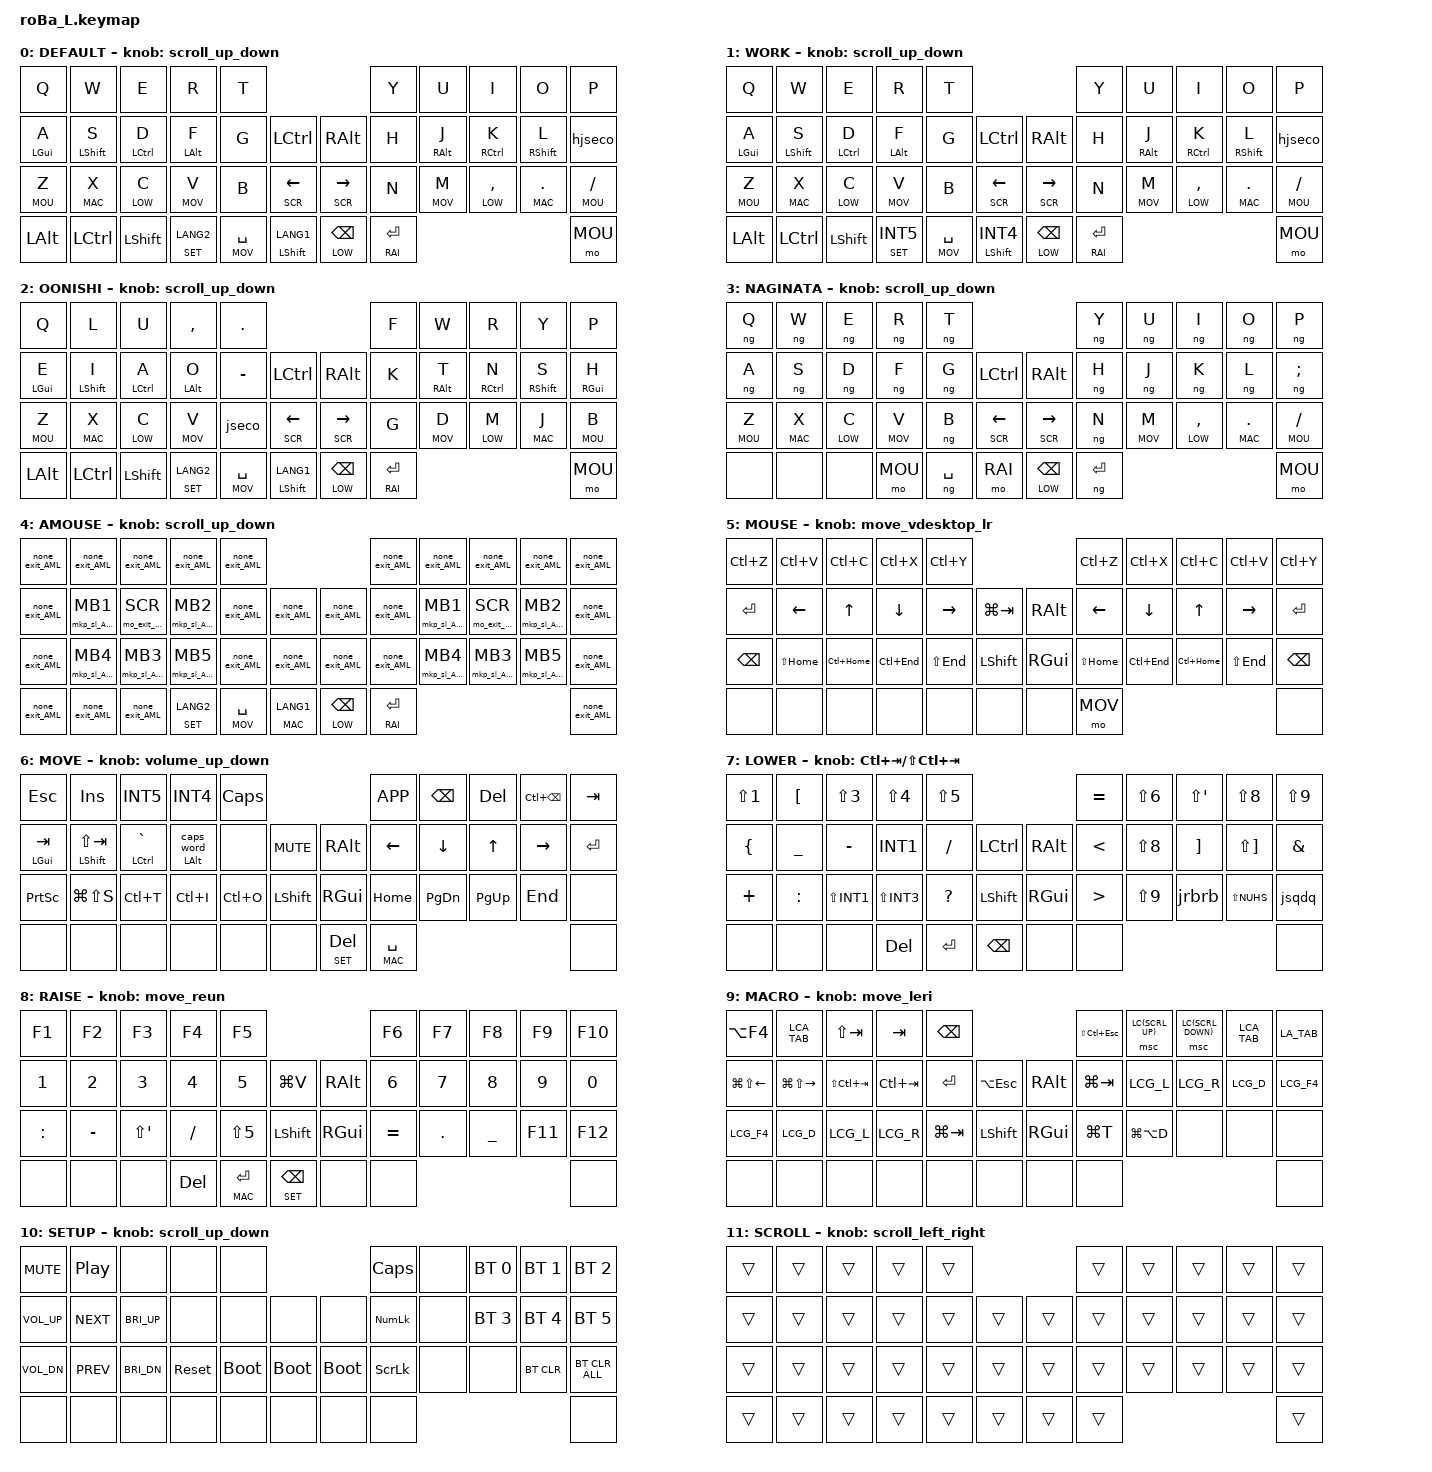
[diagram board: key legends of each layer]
#define ZMK_POINTING_DEFAULT_SCRL_VAL 100

#include <behaviors.dtsi>
#include <dt-bindings/zmk/bt.h>
#include <dt-bindings/zmk/keys.h>
#include <dt-bindings/zmk/pointing.h>
#include <behaviors/naginata.dtsi>

// 薙刀式のOS設定  (WIN 0, MAC 1, LINUX 2, IOS 3)
#define HOST_OS 0

// レイヤー定義
#define QWE 0
#define WOR 1
#define ONI 2
#define NAG 3
#define AMO 4
#define MOU 5
#define MOV 6
#define LOW 7
#define RAI 8
#define MAC 9
#define SET 10
#define SCR 11

// keycodeを置き換えるとkeymap editorが利用できないため、基本的に実施しない。
//#define XXX &none
//#define ___ &none
// Misc aliases. [TODO: clean up]
//#define LG_S       &kp LG(S)             // スクリーンショット
//#define LA_F4      &kp LA(F4)            // アプリケーション終了
//#define LG_TAB     &kp LG(TAB)           // タスクビュー
//#define LCS_ESC    &kp LS(LC(ESC))       // タスクマネージャー
//#define LG_T       &kp LG(T)             // タスクバー選択
//#define LCS_TAB    &kp LS(LC(TAB))       // タブ移動(左)
//#define LC_TAB     &kp LC(TAB)           // タブ移動(右)
//#define LC_W       &kp LC(W)             // タブ削除
//#define LC_PLU     &kp LC(KP_PLUS)       // ズーム+
//#define LC_MIN     &kp LC(KP_MINUS)      // ズーム-
//#define LS_TAB     &kp LS(TAB)           // 入力移動（左）
//#define LS_HOME    &kp LS(HOME)          // カーソルから末尾まで選択
//#define LC_HOME    &kp LC(HOME)          // 先頭を表示
//#define LC_END     &kp LC(END)           // 最後尾を表示
//#define LS_END     &kp LS(END)           // カーソルから行頭まで選択
//#define LC_BS      &kp LC(BSPC)          // 単語削除
//#define LC_Z       &kp LC(Z)             // undo
//#define LC_V       &kp LC(V)             // paste
//#define LC_X       &kp LC(X)             // cut
//#define LC_C       &kp LC(C)             // copy
//#define LC_Y       &kp LC(Y)             // redo
//#define LC_T       &kp LC(T)             // 半角英数字
//#define LC_I       &kp LC(I)             // 全角カタカナ
//#define LC_O       &kp LC(O)             // 半角カタカナ

// layerの設定
&lt {
    flavor = "tap-preferred";
    tapping-term-ms = <150>;
    quick-tap-ms = <150>;
};
&sl { release-after-ms = <120>; }; // タイムアウトを指定
/ {

    combos {
        compatible = "zmk,combos";

        // 薙刀式
        combo_ng_on {
            timeout-ms = <30>;
            key-positions = <17 18>;
            bindings = <&ng_on>;
            layers = <QWE>;
        };
        combo_ng_off {
            timeout-ms = <30>;
            key-positions = <13 14>;
            bindings = <&ng_off>;
            layers = <QWE NAG>;
        };
        // work
        combo_work_on {
            timeout-ms = <30>;
            key-positions = <29 30>;
            bindings = <&to 1>;
            layers = <QWE>;
        };
        // oonishi
        combo_oonishi_on {
            timeout-ms = <30>;
            key-positions = <30 31>;
            bindings = <&to 2>;
            layers = <QWE>;
        };
        // デフォルトに移動
        combo_qwerty_on {
            timeout-ms = <30>;
            key-positions = <24 25>;
            bindings = <&to 0>;
            layers = <QWE WOR ONI>;
        };

        // ショートカット
        combo_prn {
            timeout-ms = <40>;
            key-positions = <18 19>;
            bindings = <&JPRN2>;
            layers = <LOW>;
        };
        combo_brc {
            timeout-ms = <40>;
            key-positions = <19 20>;
            bindings = <&JBRC2>;
            layers = <LOW>;
        };
        combo_cbr {
            timeout-ms = <40>;
            key-positions = <20 21>;
            bindings = <&JCBR2>;
            layers = <LOW>;
        };
        combo_law {
            timeout-ms = <40>;
            key-positions = <30 31>;
            bindings = <&LAW>;
            layers = <LOW>;
        };
        combo_raw {
            timeout-ms = <40>;
            key-positions = <31 32>;
            bindings = <&RAW>;
            layers = <LOW>;
        };
        combo_RAI {
            timeout-ms = <40>;
            key-positions = <32 33>;
            bindings = <&mo RAI>;
            layers = <QWE WOR ONI NAG>;
        };
        combo_RAI2 {
            timeout-ms = <40>;
            key-positions = <22 23>;
            bindings = <&mo RAI>;
            layers = <QWE WOR ONI NAG>;
        };
        combo_SET {
            timeout-ms = <40>;
            key-positions = <31 32>;
            bindings = <&mo SET>;
            layers = <QWE WOR ONI NAG>;
        };
        combo_SET2 {
            timeout-ms = <40>;
            key-positions = <23 24>;
            bindings = <&mo SET>;
            layers = <QWE WOR ONI NAG>;
        };

    };

    macros {
        // アクティブアプリ(切り替え)
        LA_TAB: alt_tab {
            compatible = "zmk,behavior-macro";
            #binding-cells = <0>;
            bindings = <&macro_press &kp LALT>,
                       <&macro_tap &kp TAB>,
                       <&macro_release &kp LALT>;
        };
        // アクティブアプリ(一覧)
        LCA_TAB: alt_ctrl_tab {
            compatible = "zmk,behavior-macro";
            #binding-cells = <0>;
            bindings = <&macro_press &kp LALT>,
                       <&macro_press &kp LCTRL>,
                       <&macro_wait_time 100>,
                       <&macro_tap &kp TAB>,
                       <&macro_release &kp LCTRL>,
                       <&macro_release &kp LALT>;
        };
        // 仮想デスクトップ 新規
        LCG_D: gui_ctrl_d {
            compatible = "zmk,behavior-macro";
            #binding-cells = <0>;
            bindings = <&macro_press &kp LGUI>,
                       <&macro_press &kp LCTRL>,
                       <&macro_tap &kp D>,
                       <&macro_release &kp LCTRL>,
                       <&macro_release &kp LGUI>;
        };
        // 仮想デスクトップ 削除
        LCG_F4: gui_ctrl_F4 {
            compatible = "zmk,behavior-macro";
            #binding-cells = <0>;
            bindings = <&macro_press &kp LGUI>,
                       <&macro_press &kp LCTRL>,
                       <&macro_tap &kp F4>,
                       <&macro_release &kp LCTRL>,
                       <&macro_release &kp LGUI>;
        };
        // 仮想デスクトップ 右移動
        LCG_R: gui_ctrl_right {
            compatible = "zmk,behavior-macro";
            #binding-cells = <0>;
            bindings = <&macro_press &kp LGUI>,
                       <&macro_press &kp LCTRL>,
                       <&macro_tap &kp RIGHT>,
                       <&macro_release &kp LCTRL>,
                       <&macro_release &kp LGUI>;
        };
        // 仮想デスクトップ 左移動
        LCG_L: gui_ctrl_left {
            compatible = "zmk,behavior-macro";
            #binding-cells = <0>;
            bindings = <&macro_press &kp LGUI>,
                       <&macro_press &kp LCTRL>,
                       <&macro_tap &kp LEFT>,
                       <&macro_release &kp LCTRL>,
                       <&macro_release &kp LGUI>;
        };
        // 括弧() JIS
        JPRN2: jis_lprn_rprn {
            compatible = "zmk,behavior-macro";
            #binding-cells = <0>;
            bindings = <&macro_tap &kp LS(N8)>,
                       <&macro_tap &kp LS(N9)>,
                       <&macro_tap &kp LEFT>;
        };
        // 括弧[] JIS
        JBRC2: jis_lbrc_rbrc {
            compatible = "zmk,behavior-macro";
            #binding-cells = <0>;
            bindings = <&macro_tap &kp RBKT>,
                       <&macro_tap &kp NUHS>,
                       <&macro_tap &kp LEFT>;
        };
        // 括弧{} JIS
        JCBR2: jis_lcbr_rcbr {
            compatible = "zmk,behavior-macro";
            #binding-cells = <0>;
            bindings = <&macro_tap &kp LS(RBKT)>,
                       <&macro_tap &kp LS(NUHS)>,
                       <&macro_tap &kp LEFT>;
        };
        // → JIS
        LAW: left_arrow {
            compatible = "zmk,behavior-macro";
            #binding-cells = <0>;
            bindings = <&macro_tap &kp LS(COMMA)>,
                       <&macro_tap &kp MINUS>;
        };
        // ← JIS
        RAW: right_arrow {
            compatible = "zmk,behavior-macro";
            #binding-cells = <0>;
            bindings = <&macro_tap &kp MINUS>,
                       <&macro_tap &kp LS(DOT)>;
        };
        // naginata
        ng_on: ng_on {
            compatible = "zmk,behavior-macro";
            #binding-cells = <0>;
            bindings
                = <&macro_tap &kp LANGUAGE_1 &kp INTERNATIONAL_4 &to NAG>
                ;
        };
        ng_off: ng_off {
            compatible = "zmk,behavior-macro";
            #binding-cells = <0>;
            bindings
                = <&macro_tap &kp LANGUAGE_2 &kp INTERNATIONAL_5 &to QWE>
                ;
        };
        // AMLを解除
        exit_AML: exit_AML {
            compatible = "zmk,behavior-macro";
            wait-ms = <0>;
            tap-ms = <0>;
            #binding-cells = <0>;
            bindings = <&tog_off AMO>;
            label = "exit_AML";
        };
        // マウスレイヤーで何もせず抜ける
        none_exit_AML: none_exit_AML {
            compatible = "zmk,behavior-macro";
            wait-ms = <0>;
            tap-ms = <0>;
            #binding-cells = <0>;
            bindings = <&none &exit_AML>;
            label = "None_exit_AML";
        };
        // マウスレイヤーでキー入力後後抜ける
        kp_exit_AML: kp_exit_AML {
            compatible = "zmk,behavior-macro-one-param";
            wait-ms = <0>;
            tap-ms = <0>;
            #binding-cells = <1>;
            bindings = <&macro_param_1to1 &kp MACRO_PLACEHOLDER &exit_AML>;
        };
        // マウス入力
        mkp_sl_AML: mkp_sl_AML {
            compatible = "zmk,behavior-macro-one-param";
            #binding-cells = <1>;
            bindings =
                <&macro_press>,
                <&macro_param_1to1 &mkp MACRO_PLACEHOLDER>,
                <&macro_pause_for_release>,
                <&macro_release>,
                <&macro_param_1to1 &mkp MACRO_PLACEHOLDER>,
                <&macro_tap>,
                <&sl AMO>;
            label = "MKP_SL_AML";
        };
        // スクロール
        mo_exit_AML: mo_exit_AML {
            compatible = "zmk,behavior-macro-one-param";
            wait-ms = <0>;
            tap-ms = <0>;
            #binding-cells = <1>;
            bindings =
                <&macro_press>,
                <&macro_param_1to1 &mo MACRO_PLACEHOLDER>,
                <&macro_tap>,
                <&exit_AML>,
                <&macro_pause_for_release>,
                <&macro_release>,
                <&macro_param_1to1 &mo MACRO_PLACEHOLDER>,
                <&macro_tap>;
            label = "MO_exit_AML";
        };
    };

    behaviors {
        tog_on: toggle_layer_on {
            compatible = "zmk,behavior-toggle-layer";
            #binding-cells = <1>;
            display-name = "Toggle Layer On";
            toggle-mode = "on";
        };
        tog_off: toggle_layer_off {
            compatible = "zmk,behavior-toggle-layer";
            #binding-cells = <1>;
            display-name = "Toggle Layer Off";
            toggle-mode = "off";
        };
        // HRMの設定
        hrm: homerow_mods {
            compatible = "zmk,behavior-hold-tap";
            #binding-cells = <2>;
            tapping-term-ms = <230>;
            quick-tap-ms = <150>;
            flavor = "tap-preferred";
            bindings = <&kp>, <&kp>;
        };
        // タップ&ホールド
        qhrm: qickly_homerow_mods {
            compatible = "zmk,behavior-hold-tap";
            #binding-cells = <2>;
            tapping-term-ms = <150>;
            quick-tap-ms = <150>;
            flavor = "tap-preferred";
            bindings = <&kp>, <&kp>;
        };
        // HRMでcaps切替える
        qhrmc: qickly_homerow_mods_caps {
            compatible = "zmk,behavior-hold-tap";
            #binding-cells = <2>;
            tapping-term-ms = <150>;
            quick-tap-ms = <150>;
            flavor = "tap-preferred";
            bindings = <&kp>, <&caps_word>;
        };
        // AMLでレイヤー切り替え
        mltkp: auto_mouse_lt_kp {
            compatible = "zmk,behavior-hold-tap";
            #binding-cells = <2>;
            tapping-term-ms = <230>;
            quick-tap-ms = <150>;
            flavor = "tap-preferred";
            bindings = <&mo_exit_AML>, <&kp_exit_AML>;
        };
        // mod-tap(mouse)の設定
        mlt: mouse_layer_tap {
            compatible = "zmk,behavior-hold-tap";
            #binding-cells = <2>;
            tapping-term-ms = <150>;
            quick-tap-ms = <150>;
            flavor = "tap-preferred";
            bindings = <&mo>, <&mkp>;
        };
        //mod-tap(薙刀式)の設定
        nlt: nagi_layer_tap {
            compatible = "zmk,behavior-hold-tap";
            #binding-cells = <2>;
            tapping-term-ms = <150>;
            quick-tap-ms = <150>;
            flavor = "tap-preferred";
            bindings = <&mo>, <&ng>;
        };
        // layerの設定(文字を入力する場合)
        klt: key_layer_tap {
            compatible = "zmk,behavior-hold-tap";
            #binding-cells = <2>;
            tapping-term-ms = <230>;
            quick-tap-ms = <150>;
            flavor = "tap-preferred";
            bindings = <&mo>, <&kp>;
        };

        // ロータリーエンコーダの設定
        // スクロール動作の追加
        scroll_up_down: sensor_rotate_mouse_wheel_up_down {
            compatible = "zmk,behavior-sensor-rotate";
            #sensor-binding-cells = <0>;
            bindings = <&msc SCRL_UP>, <&msc SCRL_DOWN>;
            // 追加: スクロールのタップ時間を設定 (20ms)
            tap-ms = <20>;
        };
        scroll_left_right: sensor_rotate_mouse_wheel_left_rightxo {
            compatible = "zmk,behavior-sensor-rotate";
            #sensor-binding-cells = <0>;
            bindings = <&msc SCRL_LEFT>, <&msc SCRL_RIGHT>;
            // 追加: スクロールのタップ時間を設定 (20ms)
            tap-ms = <20>;
        };
        // 仮想デスクトップ移動
        move_vdesktop_lr: sensor_rotate_move_vdesktop_left_right  {
            compatible = "zmk,behavior-sensor-rotate";
            #sensor-binding-cells = <0>;
            bindings = <&LCG_R>, <&LCG_L>;
            // 追加: スクロールのタップ時間を設定 (20ms)
            tap-ms = <1>;
        };
        // 音量増減
        volume_up_down: sensor_rotate_volume_up_down  {
            compatible = "zmk,behavior-sensor-rotate";
            #sensor-binding-cells = <0>;
            bindings = <&kp C_VOL_UP>, <&kp C_VOL_DN>;
            // 追加: スクロールのタップ時間を設定 (20ms)
            tap-ms = <1>;
        };
        // タブ移動
        move_tab_lr: sensor_rotate_move_tab_left_right  {
            compatible = "zmk,behavior-sensor-rotate";
            #sensor-binding-cells = <0>;
            bindings = <&kp LC(TAB)>, <&kp LS(LC(TAB))>;
            // 追加: スクロールのタップ時間を設定 (20ms)
            tap-ms = <1>;
        };
        // 進む/戻る
        move_reun: sensor_rotate_move_redo_undo  {
            compatible = "zmk,behavior-sensor-rotate";
            #sensor-binding-cells = <0>;
            bindings = <&kp LC(Y)>, <&kp LC(Z)>;
            // 追加: スクロールのタップ時間を設定 (20ms)
            tap-ms = <1>;
        };
        // 右/左
        move_leri: sensor_rotate_move_left_right  {
            compatible = "zmk,behavior-sensor-rotate";
            #sensor-binding-cells = <0>;
            bindings = <&kp RIGHT>, <&kp LEFT>;
            // 追加: スクロールのタップ時間を設定 (20ms)
            tap-ms = <1>;
        };
        // キー入力受付
         rot_kp: sensor_rotate_kp {
            compatible = "zmk,behavior-sensor-rotate-var";
            #sensor-binding-cells = <2>;
            bindings = <&kp>, <&kp>;
            tap-ms = <1>;
        };

        // HRMで記号の入力を指定
        hjseco: homerow_mods_jis_semi_colon {
            compatible = "zmk,behavior-mod-morph";
            #binding-cells = <0>;
            bindings = <&hrm RGUI SEMI>, <&kp SQT>;
            mods = <(MOD_LSFT|MOD_RSFT)>;
        };
        // 記号の入力
        jseco: jis_semi_colon {
            compatible = "zmk,behavior-mod-morph";
            #binding-cells = <0>;
            bindings = <&kp SEMI>, <&kp SQT>;
            mods = <(MOD_LSFT|MOD_RSFT)>;
        };
        // 記号の入力
        jsqdq: jis_sqt_dqt {
            compatible = "zmk,behavior-mod-morph";
            #binding-cells = <0>;
            bindings = <&kp AT>, <&kp AMPS>;
            mods = <(MOD_LSFT|MOD_RSFT)>;
        };
        // 記号の入力
        jrbrb: jis_rbkt_rbrc {
            compatible = "zmk,behavior-mod-morph";
            #binding-cells = <0>;
            bindings = <&kp NUHS>, <&kp LS(NUHS)>;
            mods = <(MOD_LSFT|MOD_RSFT)>;
        };
    };

    keymap {
        compatible = "zmk,keymap";

        /*
        map = <
            RC(0,0) RC(0,1) RC(0,2) RC(0,3) RC(0,4)                     RC(0,6) RC(0,7) RC(0,8) RC(0,9) RC(0,10)
            RC(1,0) RC(1,1) RC(1,2) RC(1,3) RC(1,4) RC(1,5)     RC(3,6) RC(1,6) RC(1,7) RC(1,8) RC(1,9) RC(1,10)
            RC(2,0) RC(2,1) RC(2,2) RC(2,3) RC(2,4) RC(2,5)     RC(3,7) RC(2,6) RC(2,7) RC(2,8) RC(2,9) RC(2,10)
            RC(3,0) RC(3,1) RC(3,2) RC(3,3) RC(3,4) RC(3,5)     RC(3,8) RC(3,9)                         RC(3,10)
        >;

        number
            00  01  02  03  04                  05  06  07  08  09
            10  11  12  13  14  15          16  17  18  19  20  21
            22  23  24  25  26  27          28  29  30  31  32  33
            34  35  36  37  38  39          40  41              42
        */

        DEFAULT {
            bindings = <
&kp Q        &kp W        &kp E         &kp R         &kp T                                                      &kp Y        &kp U         &kp I          &kp O         &kp P
&hrm LGUI A  &hrm LSHFT S &hrm LCTRL D  &hrm LALT F   &kp G             &kp LCTRL                 &kp RALT       &kp H        &hrm RALT J   &hrm RCTRL K   &hrm RSHFT L  &hjseco
&klt MOU Z   &klt MAC X   &klt LOW C    &klt MOV V    &kp B             &lt SCR LEFT              &lt SCR RIGHT  &kp N        &klt MOV M    &klt LOW COMMA &klt MAC DOT  &klt MOU FSLH
&kp LALT     &kp LCTRL    &kp LSHFT     &lt SET LANG2 &lt MOV SPACE     &qhrm LSHFT LANG1         &lt LOW BSPC   &lt RAI RET                                             &mo MOU
            >;
            sensor-bindings = <&scroll_up_down>;
        };

        WORK {
            bindings = <
&kp Q        &kp W        &kp E         &kp R         &kp T                                                      &kp Y        &kp U         &kp I          &kp O         &kp P
&hrm LGUI A  &hrm LSHFT S &hrm LCTRL D  &hrm LALT F   &kp G             &kp LCTRL                 &kp RALT       &kp H        &hrm RALT J   &hrm RCTRL K   &hrm RSHFT L  &hjseco
&klt MOU Z   &klt MAC X   &klt LOW C    &klt MOV V    &kp B             &lt SCR LEFT              &lt SCR RIGHT  &kp N        &klt MOV M    &klt LOW COMMA &klt MAC DOT  &klt MOU FSLH
&kp LALT     &kp LCTRL    &kp LSHFT     &lt SET INT5  &lt MOV SPACE     &qhrm LSHFT INT4          &lt LOW BSPC   &lt RAI RET                                             &mo MOU
            >;
            sensor-bindings = <&scroll_up_down>;
        };

        OONISHI {
            bindings = <
&kp Q        &kp L        &kp U         &kp COMMA     &kp DOT                                                  &kp F        &kp W         &kp R         &kp Y        &kp P
&hrm LGUI E  &hrm LSHFT I &hrm LCTRL A  &hrm LALT O   &kp MINUS       &kp LCTRL                 &kp RALT       &kp K        &hrm RALT T   &hrm RCTRL N  &hrm RSHFT S &hrm RGUI H
&klt MOU Z   &klt MAC X   &klt LOW C    &klt MOV V    &jseco          &lt SCR LEFT              &lt SCR RIGHT  &kp G        &klt MOV D    &klt LOW M    &klt MAC J   &klt MOU B
&kp LALT     &kp LCTRL    &kp LSHFT     &lt SET LANG2 &lt MOV SPACE   &qhrm LSHFT LANG1         &lt LOW BSPC   &lt RAI RET                                           &mo MOU
            >;
            sensor-bindings = <&scroll_up_down>;
        };

        NAGINATA {
            bindings = <
&ng Q      &ng W      &ng E      &ng R         &ng T                                        &ng Y      &ng U      &ng I           &ng O         &ng P
&ng A      &ng S      &ng D      &ng F         &ng G           &kp LCTRL      &kp RALT      &ng H      &ng J      &ng K           &ng L         &ng SEMI
&nlt MOU Z &nlt MAC X &nlt LOW C &nlt MOV V    &ng B           &lt SCR LEFT   &lt SCR RIGHT &ng N      &nlt MOV M &nlt LOW COMMA  &nlt MAC DOT  &nlt MOU FSLH
&none      &none      &none      &mo MOU       &ng SPACE       &mo RAI        &lt LOW BSPC  &ng ENTER                                           &mo MOU
            >;
            sensor-bindings = <&scroll_up_down>;
        };

        AMOUSE {
            bindings = <
&none_exit_AML &none_exit_AML  &none_exit_AML      &none_exit_AML        &none_exit_AML                                       &none_exit_AML &none_exit_AML  &none_exit_AML      &none_exit_AML      &none_exit_AML
&none_exit_AML &mkp_sl_AML MB1 &mo_exit_AML SCR    &mkp_sl_AML MB2       &none_exit_AML   &none_exit_AML      &none_exit_AML  &none_exit_AML &mkp_sl_AML MB1 &mo_exit_AML SCR    &mkp_sl_AML MB2     &none_exit_AML
&none_exit_AML &mkp_sl_AML MB4 &mkp_sl_AML MB3     &mkp_sl_AML MB5       &none_exit_AML   &none_exit_AML      &none_exit_AML  &none_exit_AML &mkp_sl_AML MB4 &mkp_sl_AML MB3     &mkp_sl_AML MB5     &none_exit_AML
&none_exit_AML &none_exit_AML  &none_exit_AML      &mltkp SET LANG2      &mltkp MOV SPACE &mltkp MAC LANG1    &mltkp LOW BSPC &mltkp RAI RET                                                         &none_exit_AML
            >;
            sensor-bindings = <&scroll_up_down>;
        };

        MOUSE {
            bindings = <
&kp LC(Z)    &kp LC(V)     &kp LC(C)    &kp LC(X)    &kp LC(Y)                                      &kp LC(Z)      &kp LC(X)     &kp LC(C)      &kp LC(V)      &kp LC(Y)
&kp RET      &kp LEFT      &kp UP       &kp DOWN     &kp RIGHT       &kp LG(TAB)       &kp RALT     &kp LEFT       &kp DOWN      &kp UP         &kp RIGHT      &kp RET
&kp BSPC     &kp LS(HOME)  &kp LC(HOME) &kp LC(END)  &kp LS(END)     &kp LSHFT         &kp RGUI     &kp LS(HOME)   &kp LC(END)   &kp LC(HOME)   &kp LS(END)    &kp BSPC
&none        &none         &none        &none        &none           &none             &none        &mo MOV                                                    &none
            >;
            sensor-bindings = <&move_vdesktop_lr>;
        };

        MOVE {
            bindings = <
&kp ESC        &kp INS             &kp INT5          &kp INT4       &kp CAPS                              &kp K_APP     &kp BSPC  &kp DEL   &kp LC(BSPC) &kp TAB
&qhrm LGUI TAB &qhrm LSHFT LS(TAB) &qhrm LCTRL GRAVE &qhrmc LALT 0  &none      &kp C_MUTE     &kp RALT    &kp LEFT      &kp DOWN  &kp UP    &kp RIGHT    &kp RET
&kp PSCRN      &kp LG(LS(S))       &kp LC(T)         &kp LC(I)      &kp LC(O)  &kp LSHFT      &kp RGUI    &kp HOME      &kp PG_DN &kp PG_UP &kp END      &none
&none          &none               &none             &none          &none      &none          &lt SET DEL &lt MAC SPACE                                  &none
            >;
            sensor-bindings = <&volume_up_down>;
        };

        LOWER {
            bindings = <
&kp LS(N1) &kp LBKT  &kp LS(N3)   &kp LS(N4)   &kp LS(N5)                             &kp EQUAL   &kp LS(N6) &kp LS(SQT) &kp LS(N8)   &kp LS(N9)
&kp LBRC   &kp UNDER &kp MINUS    &kp INT1     &kp FSLH   &kp LCTRL         &kp RALT  &kp LT      &kp LS(N8) &kp RBKT    &kp LS(RBKT) &kp AMPS
&kp PLUS   &kp COLON &kp LS(INT1) &kp LS(INT3) &kp QMARK  &kp LSHFT         &kp RGUI  &kp GT      &kp LS(N9) &jrbrb      &kp LS(NUHS) &jsqdq
&none      &none     &none        &kp DEL      &kp RET    &kp BSPC          &none     &none                                           &none
            >;
            sensor-bindings = <&rot_kp  LC(TAB) LS(LC(TAB))>;
        };

        RAISE {
            bindings = <
&kp F1      &kp F2       &kp F3        &kp F4       &kp F5                                     &kp F6     &kp F7    &kp F8      &kp F9  &kp F10
&kp N1      &kp N2       &kp N3        &kp N4       &kp N5      &kp LG(V)             &kp RALT &kp N6     &kp N7    &kp N8      &kp N9  &kp N0
&kp COLON   &kp MINUS    &kp LS(SQT)   &kp FSLH     &kp LS(N5)  &kp LSHFT             &kp RGUI &kp EQUAL  &kp DOT   &kp UNDER   &kp F11 &kp F12
&none       &none        &none         &kp DEL      &lt MAC RET &lt SET BSPC          &none    &none                                    &none
            >;
            sensor-bindings = <&move_reun>;
        };

        MACRO {
            bindings = <
&kp LA(F4)        &LCA_TAB           &kp LS(TAB)      &kp TAB        &kp BSPC                           &kp LS(LC(ESC))  &msc LC(SCRL_UP)  &msc LC(SCRL_DOWN)  &LCA_TAB    &LA_TAB
&kp LG(LS(LEFT))  &kp LG(LS(RIGHT))  &kp LS(LC(TAB))  &kp LC(TAB)    &kp RET     &kp LA(ESC)  &kp RALT  &kp LG(TAB)      &LCG_L            &LCG_R              &LCG_D      &LCG_F4
&LCG_F4           &LCG_D             &LCG_L           &LCG_R         &kp LG(TAB) &kp LSHFT    &kp RGUI  &kp LG(T)        &kp LG(LA(D))     &none               &none       &none
&none             &none              &none            &none          &none       &none        &none     &none                                                              &none
            >;
            sensor-bindings = <&move_leri>;
        };

        SETUP {
            bindings = <
&kp C_MUTE    &kp C_PP    &none         &none       &none                                        &kp CAPS    &none       &bt BT_SEL 0  &bt BT_SEL 1  &bt BT_SEL 2
&kp C_VOL_UP  &kp C_NEXT  &kp C_BRI_UP  &none       &none          &none            &none        &kp KP_NUM  &none       &bt BT_SEL 3  &bt BT_SEL 4  &bt BT_SEL 5
&kp C_VOL_DN  &kp C_PREV  &kp C_BRI_DN  &sys_reset  &bootloader    &bootloader      &bootloader  &kp SLCK    &none       &none         &bt BT_CLR    &bt BT_CLR_ALL
&none         &none       &none         &none       &none          &none            &none        &none                                               &none
            >;
            sensor-bindings = <&scroll_up_down>;
        };

        SCROLL {
            bindings = <
&trans  &trans  &trans  &trans  &trans                      &trans  &trans  &trans  &trans  &trans
&trans  &trans  &trans  &trans  &trans  &trans      &trans  &trans  &trans  &trans  &trans  &trans
&trans  &trans  &trans  &trans  &trans  &trans      &trans  &trans  &trans  &trans  &trans  &trans
&trans  &trans  &trans  &trans  &trans  &trans      &trans  &trans                          &trans
            >;
            sensor-bindings = <&scroll_left_right>;
        };

    };
};
